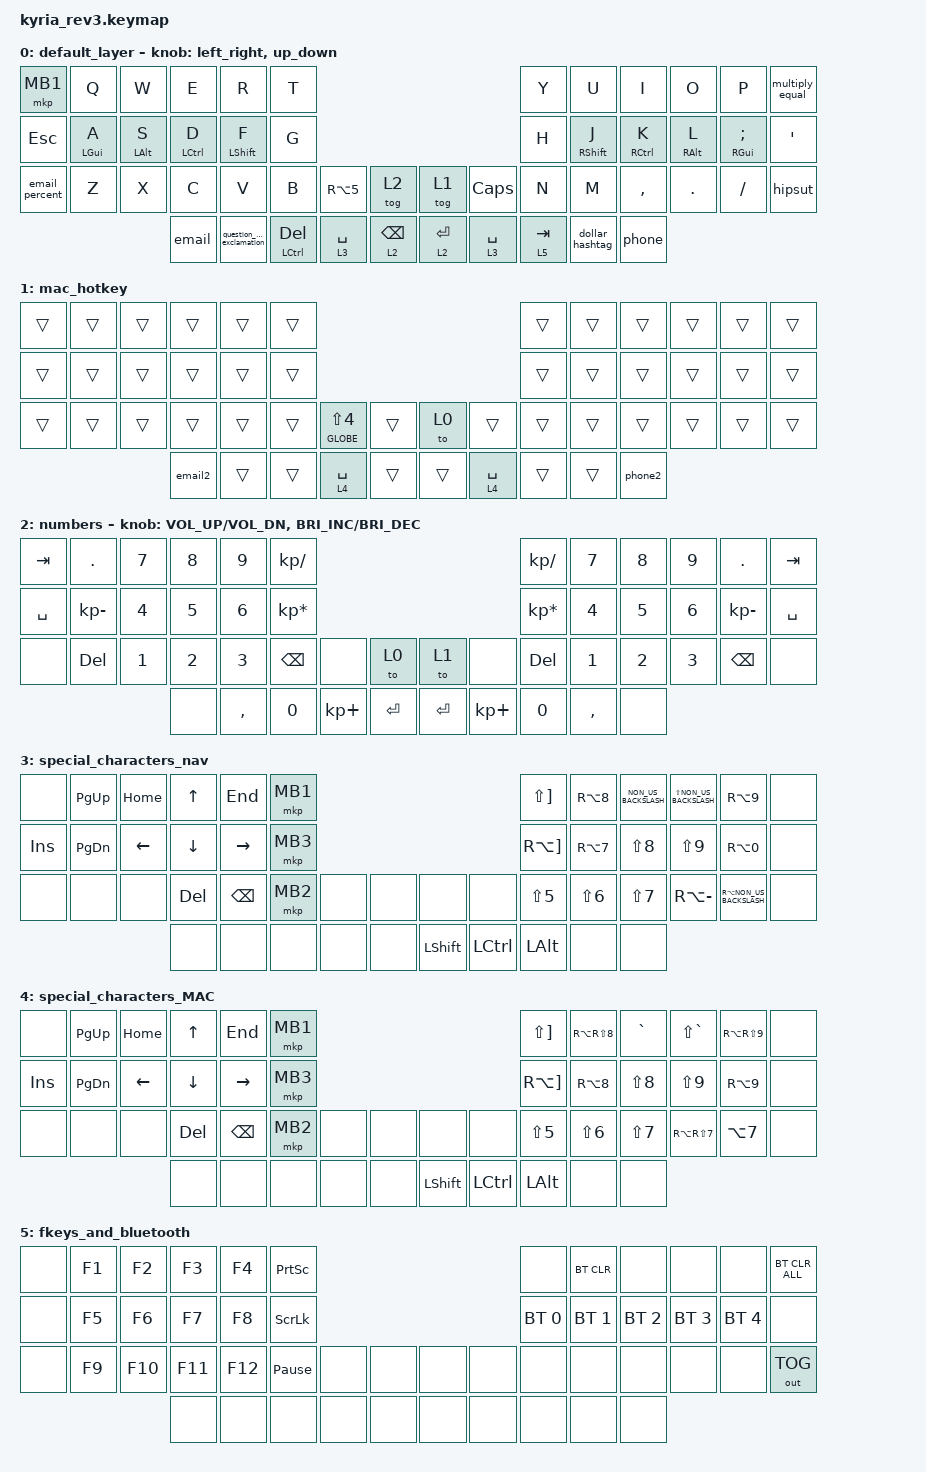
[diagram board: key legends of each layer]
#define ZMK_POINTING_DEFAULT_SCRL_VAL 300  // 10

#include <behaviors.dtsi>
#include <dt-bindings/zmk/bt.h>
#include <dt-bindings/zmk/keys.h>
#include <dt-bindings/zmk/outputs.h>
#include <dt-bindings/zmk/pointing.h>

&msc { acceleration-exponent = <1>; };

/ {
    behaviors {
        question_mark_exclamation: question_mark_exclamation {
            compatible = "zmk,behavior-tap-dance";
            label = "QUESTION_MARK_EXCLAMATION";
            #binding-cells = <0>;
            bindings = <&kp RS(MINUS)>, <&kp EXCLAMATION>;

            tapping-term-ms = <200>;
        };

        email_percent: email_percent {
            compatible = "zmk,behavior-tap-dance";
            label = "EMAIL_PERCENT";
            #binding-cells = <0>;
            bindings = <&kp RA(NUMBER_2)>, <&kp PERCENT>;

            tapping-term-ms = <200>;
        };

        hipsut: hipsut {
            compatible = "zmk,behavior-tap-dance";
            label = "HIPSUT";
            #binding-cells = <0>;
            bindings = <&kp BACKSLASH>, <&kp LS(N2)>;

            tapping-term-ms = <200>;
        };

        dollar_hashtag: dollar_hashtag {
            compatible = "zmk,behavior-tap-dance";
            label = "DOLLAR_HASHTAG";
            #binding-cells = <0>;
            bindings = <&kp RA(NUMBER_4)>, <&kp HASH>;

            tapping-term-ms = <200>;
        };

        left_right: left_right {
            compatible = "zmk,behavior-sensor-rotate";
            label = "LEFT_RIGHT";
            #sensor-binding-cells = <0>;
            bindings = <&kp RIGHT>, <&kp LEFT>;

            tap-ms = <5>;
        };

        up_down: up_down {
            compatible = "zmk,behavior-sensor-rotate";
            label = "UP_DOWN";
            #sensor-binding-cells = <0>;
            bindings = <&kp DOWN_ARROW>, <&kp UP_ARROW>;

            tap-ms = <5>;
        };

        hml: hml {
            compatible = "zmk,behavior-hold-tap";
            label = "HML";
            bindings = <&kp>, <&kp>;

            #binding-cells = <2>;
            tapping-term-ms = <280>;
            quick-tap-ms = <175>;
            require-prior-idle-ms = <150>;
            flavor = "balanced";
            hold-trigger-key-positions = <6 7 8 9 10 11 18 19 20 21 22 23 34 35 36 37 38 39>;
            hold-trigger-on-release;
        };

        hmr: hmr {
            compatible = "zmk,behavior-hold-tap";
            label = "HMR";
            bindings = <&kp>, <&kp>;

            #binding-cells = <2>;
            tapping-term-ms = <280>;
            quick-tap-ms = <175>;
            require-prior-idle-ms = <150>;
            flavor = "balanced";
            hold-trigger-key-positions = <0 1 2 3 4 5 12 13 14 15 16 17 24 25 26 27 28 29>;
            hold-trigger-on-release;
        };

        multiply_equal: multiply_equal {
            compatible = "zmk,behavior-tap-dance";
            label = "MULTIPLY_EQUAL";
            #binding-cells = <0>;
            bindings = <&kp KP_MULTIPLY>, <&kp LS(N0)>;
        };

        hmls: hmls {
            compatible = "zmk,behavior-hold-tap";
            label = "HMLS";
            bindings = <&kp>, <&kp>;

            #binding-cells = <2>;
            tapping-term-ms = <220>;
            quick-tap-ms = <140>;
            require-prior-idle-ms = <90>;
            hold-trigger-key-positions = <6 7 8 9 10 11 18 19 20 21 22 23 34 35 36 37 38 39>;
        };

        hmrs: hmrs {
            compatible = "zmk,behavior-hold-tap";
            label = "HMRS";
            bindings = <&kp>, <&kp>;

            #binding-cells = <2>;
            tapping-term-ms = <220>;
            quick-tap-ms = <140>;
            require-prior-idle-ms = <90>;
            hold-trigger-key-positions = <0 1 2 3 4 5 12 13 14 15 16 17 24 25 26 27 28 29>;
        };
    };

    macros {
        email: email {
            compatible = "zmk,behavior-macro";
            #binding-cells = <0>;
            bindings = <&kp J &kp A &kp A &kp K &kp K &kp O &kp DOT &kp L &kp I &kp N &kp N &kp A &kp N &kp M &kp A &kp K &kp I &kp RA(NUMBER_2) &kp G &kp M &kp A &kp I &kp L &kp DOT &kp C &kp O &kp M>;
            label = "EMAIL";
        };

        phone: phone {
            compatible = "zmk,behavior-macro";
            #binding-cells = <0>;
            bindings = <&kp N0 &kp N4 &kp N0 &kp KP_MINUS &kp N9 &kp N1 &kp N2 &kp N3 &kp N3 &kp N5 &kp N6>;
            label = "PHONE";
        };

        email2: email2 {
            compatible = "zmk,behavior-macro";
            #binding-cells = <0>;
            bindings = <&kp J &kp A &kp A &kp K &kp K &kp O &kp DOT &kp L &kp I &kp N &kp N &kp A &kp N &kp M &kp A &kp K &kp I &kp RA(NUMBER_2) &kp E &kp A &kp S &kp O &kp F &kp T &kp DOT &kp F &kp I>;
            label = "EMAIL2";
        };

        phone2: phone2 {
            compatible = "zmk,behavior-macro";
            #binding-cells = <0>;
            bindings = <&kp N0 &kp N5 &kp N0 &kp KP_MINUS &kp N4 &kp N1 &kp N3 &kp N4 &kp N5 &kp N5 &kp N6>;
            label = "PHONE2";
        };
    };

    keymap {
        compatible = "zmk,keymap";

        default_layer {
            bindings = <
&mkp MB1        &kp Q            &kp W            &kp E         &kp R                       &kp T                                                                            &kp Y      &kp U                &kp I         &kp O             &kp P                &multiply_equal
&kp ESCAPE      &hml LEFT_GUI A  &hml LEFT_ALT S  &hml LCTRL D  &hmls LEFT_SHIFT F          &kp G                                                                            &kp H      &hmrs RIGHT_SHIFT J  &hmr RCTRL K  &hmr RIGHT_ALT L  &hmr RIGHT_GUI SEMI  &kp SQT
&email_percent  &kp Z            &kp X            &kp C         &kp V                       &kp B                    &kp RA(N5)   &tog 2           &tog 1       &kp CAPS     &kp N      &kp M                &kp COMMA     &kp DOT           &kp FSLH             &hipsut
                                                  &email        &question_mark_exclamation  &mt LEFT_CONTROL DELETE  &lt 3 SPACE  &lt 2 BACKSPACE  &lt 2 ENTER  &lt 3 SPACE  &lt 5 TAB  &dollar_hashtag      &phone
            >;

            sensor-bindings = <&left_right>, <&up_down>;
        };

        mac_hotkey {
            bindings = <
&trans  &trans  &trans  &trans   &trans  &trans                                                       &trans  &trans  &trans   &trans  &trans  &trans
&trans  &trans  &trans  &trans   &trans  &trans                                                       &trans  &trans  &trans   &trans  &trans  &trans
&trans  &trans  &trans  &trans   &trans  &trans  &mt GLOBE LS(NUMBER_4)  &trans  &to 0   &trans       &trans  &trans  &trans   &trans  &trans  &trans
                        &email2  &trans  &trans  &lt 4 SPACE             &trans  &trans  &lt 4 SPACE  &trans  &trans  &phone2
            >;
        };

        numbers {
            bindings = <
&kp TAB    &kp DOT          &kp N7  &kp N8  &kp N9     &kp KP_SLASH                                                     &kp KP_DIVIDE    &kp N7     &kp N8        &kp N9  &kp DOT          &kp TAB
&kp SPACE  &kp KP_SUBTRACT  &kp N4  &kp N5  &kp N6     &kp KP_MULTIPLY                                                  &kp KP_MULTIPLY  &kp N4     &kp N5        &kp N6  &kp KP_SUBTRACT  &kp SPACE
&none      &kp DEL          &kp N1  &kp N2  &kp N3     &kp BSPC         &none        &to 0      &to 1      &none        &kp DELETE       &kp N1     &kp NUMBER_2  &kp N3  &kp BACKSPACE    &none
                                    &none   &kp COMMA  &kp N0           &kp KP_PLUS  &kp ENTER  &kp ENTER  &kp KP_PLUS  &kp N0           &kp COMMA  &none
            >;

            sensor-bindings =
                <&inc_dec_kp C_VOL_UP C_VOL_DN>,
                <&inc_dec_kp C_BRIGHTNESS_INC C_BRIGHTNESS_DEC>;
        };

        special_characters_nav {
            bindings = <
&none    &kp PAGE_UP    &kp HOME  &kp UP    &kp END        &mkp MB1                                                  &kp LS(RIGHT_BRACKET)  &kp RA(N8)        &kp NON_US_BACKSLASH  &kp LS(NON_US_BACKSLASH)  &kp RA(N9)                &none
&kp INS  &kp PAGE_DOWN  &kp LEFT  &kp DOWN  &kp RIGHT      &mkp MB3                                                  &kp RA(RIGHT_BRACKET)  &kp RA(N7)        &kp LS(N8)            &kp LS(N9)                &kp RA(N0)                &none
&none    &none          &none     &kp DEL   &kp BACKSPACE  &mkp MB2  &none  &none  &none           &none             &kp LS(N5)             &kp LS(NUMBER_6)  &kp LS(N7)            &kp RA(MINUS)             &kp RA(NON_US_BACKSLASH)  &none
                                  &none     &none          &none     &none  &none  &kp LEFT_SHIFT  &kp LEFT_CONTROL  &kp LEFT_ALT           &none             &none
            >;
        };

        special_characters_MAC {
            bindings = <
&none    &kp PAGE_UP    &kp HOME  &kp UP    &kp END        &mkp MB1                                                  &kp LS(RIGHT_BRACKET)  &kp RA(RS(N8))    &kp GRAVE   &kp LS(GRAVE)   &kp RA(RS(N9))  &none
&kp INS  &kp PAGE_DOWN  &kp LEFT  &kp DOWN  &kp RIGHT      &mkp MB3                                                  &kp RA(RIGHT_BRACKET)  &kp RA(N8)        &kp LS(N8)  &kp LS(N9)      &kp RA(N9)      &none
&none    &none          &none     &kp DEL   &kp BACKSPACE  &mkp MB2  &none  &none  &none           &none             &kp LS(N5)             &kp LS(NUMBER_6)  &kp LS(N7)  &kp RA(RS(N7))  &kp LA(N7)      &none
                                  &none     &none          &none     &none  &none  &kp LEFT_SHIFT  &kp LEFT_CONTROL  &kp LEFT_ALT           &none             &none
            >;
        };

        fkeys_and_bluetooth {
            bindings = <
&none  &kp F1  &kp F2   &kp F3   &kp F4   &kp PRINTSCREEN                              &none         &bt BT_CLR    &none         &none         &none         &bt BT_CLR_ALL
&none  &kp F5  &kp F6   &kp F7   &kp F8   &kp SCROLLLOCK                               &bt BT_SEL 0  &bt BT_SEL 1  &bt BT_SEL 2  &bt BT_SEL 3  &bt BT_SEL 4  &none
&none  &kp F9  &kp F10  &kp F11  &kp F12  &kp PAUSE_BREAK  &none  &none  &none  &none  &none         &none         &none         &none         &none         &out OUT_TOG
                        &none    &none    &none            &none  &none  &none  &none  &none         &none         &none
            >;
        };
    };
};
